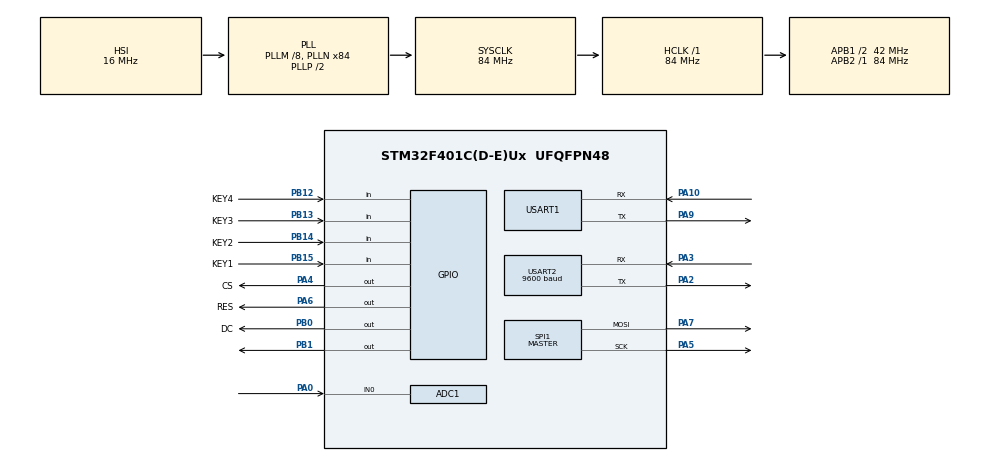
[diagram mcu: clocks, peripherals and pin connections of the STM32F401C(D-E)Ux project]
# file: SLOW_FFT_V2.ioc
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ADC1.Channel-0\#ChannelRegularConversion=ADC_CHANNEL_0
ADC1.ContinuousConvMode=ENABLE
ADC1.DMAContinuousRequests=ENABLE
ADC1.NbrOfConversionFlag=1
ADC1.Rank-0\#ChannelRegularConversion=1
ADC1.SamplingTime-0\#ChannelRegularConversion=ADC_SAMPLETIME_3CYCLES
ADC1.master=1
Dma.ADC1.0.Direction=DMA_PERIPH_TO_MEMORY
Dma.ADC1.0.FIFOMode=DMA_FIFOMODE_DISABLE
Dma.ADC1.0.Instance=DMA2_Stream0
Dma.ADC1.0.MemDataAlignment=DMA_MDATAALIGN_HALFWORD
Dma.ADC1.0.MemInc=DMA_MINC_ENABLE
Dma.ADC1.0.Mode=DMA_CIRCULAR
Dma.ADC1.0.PeriphDataAlignment=DMA_PDATAALIGN_HALFWORD
Dma.ADC1.0.PeriphInc=DMA_PINC_DISABLE
Dma.ADC1.0.Priority=DMA_PRIORITY_LOW
Dma.Request0=ADC1
Dma.Request1=SPI1_TX
Dma.SPI1_TX.1.Direction=DMA_MEMORY_TO_PERIPH
Dma.SPI1_TX.1.FIFOMode=DMA_FIFOMODE_DISABLE
Dma.SPI1_TX.1.Instance=DMA2_Stream3
Dma.SPI1_TX.1.MemDataAlignment=DMA_MDATAALIGN_BYTE
Dma.SPI1_TX.1.MemInc=DMA_MINC_ENABLE
Dma.SPI1_TX.1.Mode=DMA_NORMAL
Dma.SPI1_TX.1.PeriphDataAlignment=DMA_PDATAALIGN_BYTE
Dma.SPI1_TX.1.PeriphInc=DMA_PINC_DISABLE
Dma.SPI1_TX.1.Priority=DMA_PRIORITY_LOW
Mcu.Family=STM32F4
Mcu.Name=STM32F401C(D-E)Ux
Mcu.Package=UFQFPN48
NVIC.DMA2_Stream0_IRQn=true\:0\:0\:false\:false\:true\:false\:true\:true
NVIC.DMA2_Stream3_IRQn=true\:0\:0\:false\:false\:true\:false\:true\:true
NVIC.PriorityGroup=NVIC_PRIORITYGROUP_4
NVIC.TIM5_IRQn=true\:0\:0\:false\:false\:true\:true\:true\:true
PA0-WKUP.Signal=ADCx_IN0
PA10.Mode=Asynchronous
PA10.Signal=USART1_RX
PA13.Mode=Serial_Wire
PA13.Signal=SYS_JTMS-SWDIO
PA14.Mode=Serial_Wire
PA14.Signal=SYS_JTCK-SWCLK
PA2.Mode=Asynchronous
PA2.Signal=USART2_TX
PA3.Mode=Asynchronous
PA3.Signal=USART2_RX
PA4.GPIO_Label=CS
PA4.Signal=GPIO_Output
PA5.Mode=TX_Only_Simplex_Unidirect_Master
PA5.Signal=SPI1_SCK
PA6.GPIO_Label=RES
PA6.Signal=GPIO_Output
PA7.Mode=TX_Only_Simplex_Unidirect_Master
PA7.Signal=SPI1_MOSI
PA9.Mode=Asynchronous
PA9.Signal=USART1_TX
PB0.GPIO_Label=DC
PB0.Signal=GPIO_Output
PB1.GPIO_Speed=GPIO_SPEED_FREQ_VERY_HIGH
PB1.Signal=GPIO_Output
PB12.GPIO_Label=KEY4
PB12.GPIO_PuPd=GPIO_PULLUP
PB12.Signal=GPIO_Input
PB13.GPIO_Label=KEY3
PB13.GPIO_PuPd=GPIO_PULLUP
PB13.Signal=GPIO_Input
PB14.GPIO_Label=KEY2
PB14.GPIO_PuPd=GPIO_PULLUP
PB14.Signal=GPIO_Input
PB15.GPIO_Label=KEY1
PB15.GPIO_PuPd=GPIO_PULLUP
PB15.Signal=GPIO_Input
PH0\ -\ OSC_IN.Mode=HSE-External-Oscillator
PH0\ -\ OSC_IN.Signal=RCC_OSC_IN
PH1\ -\ OSC_OUT.Mode=HSE-External-Oscillator
PH1\ -\ OSC_OUT.Signal=RCC_OSC_OUT
ProjectManager.HeapSize=0x200
ProjectManager.StackSize=0x400
ProjectManager.TargetToolchain=MDK-ARM V5.32
RCC.48MHZClocksFreq_Value=42000000
RCC.AHBFreq_Value=84000000
RCC.APB1CLKDivider=RCC_HCLK_DIV2
RCC.APB1Freq_Value=42000000
RCC.APB1TimFreq_Value=84000000
RCC.APB2Freq_Value=84000000
RCC.APB2TimFreq_Value=84000000
RCC.CortexFreq_Value=84000000
RCC.HCLKFreq_Value=84000000
RCC.HSE_VALUE=25000000
RCC.HSI_VALUE=16000000
RCC.LSE_VALUE=32768
RCC.PLLM=8
RCC.PLLN=84
RCC.SYSCLKFreq_VALUE=84000000
RCC.SYSCLKSource=RCC_SYSCLKSOURCE_PLLCLK
RCC.VCOOutputFreq_Value=168000000
SH.ADCx_IN0.0=ADC1_IN0,IN0
SPI1.BaudRatePrescaler=SPI_BAUDRATEPRESCALER_16
SPI1.Direction=SPI_DIRECTION_2LINES
SPI1.Mode=SPI_MODE_MASTER
SPI1.VirtualType=VM_MASTER
TIM5.Period=159
TIM5.Prescaler=83
USART1.VirtualMode=VM_ASYNC
USART2.BaudRate=9600
USART2.VirtualMode=VM_ASYNC
VP_TIM5_VS_ClockSourceINT.Mode=Internal
board=custom

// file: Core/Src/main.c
/* USER CODE BEGIN Header */
/**
 ******************************************************************************
 * @file           : main.c
 * @brief          : Main program body
 ******************************************************************************
 * @attention
 *
 * Copyright (c) 2023 STMicroelectronics.
 * All rights reserved.
 *
 * This software is licensed under terms that can be found in the LICENSE file
 * in the root directory of this software component.
 * If no LICENSE file comes with this software, it is provided AS-IS.
 *
 ******************************************************************************
 */
/* USER CODE END Header */
#include "main.h"
#include "adc.h"
#include "dma.h"
#include "spi.h"
#include "tim.h"
#include "usart.h"
#include "gpio.h"

/* USER CODE BEGIN Includes */
#include "oled.h"
#include "stdint.h"
#include "string.h"
#include "stdio.h"
#include "loop_queue.h"
#include "trigger.h"

/* USER CODE END Includes */

/* USER CODE BEGIN PV */
uint16_t adcBuffer[AVG_NUMBER];
char uartBuffer[100];
uint16_t avgNoise = 0;
uint16_t fftStartIdx = 0;
float32_t fftOutput[FFT_OUTPUT_DATA_SIZE];
float32_t triggerValue = 0;
// float32_t hanningWindow[FFT_INPUT_DATA_LEN];

static uint8_t keyState = 0;
static float32_t adcAvgValue = 0;

extern const arm_cfft_instance_f32 arm_cfft_sR_f32_len512;
extern volatile float32_t pickDataBuf[];
extern uint16_t triggerFreqIdx;
extern uint16_t triggerLinePos;

/* USER CODE END PV */

void SystemClock_Config(void);

/* USER CODE BEGIN 0 */

void generateHanningWindow(float32_t *window, uint32_t length)
{
    for (uint32_t i = 0; i < length; i++)
    {
        window[i] = 0.5f * (1.0f - arm_cos_f32(2.0f * PI * i / (length - 1)));
    }
}

void window_filter(void)
{
    uint16_t i = 0;
    for (i = 0; i < FFT_INPUT_DATA_LEN; i++)
    {
        // pickDataBuf[i] = pickDataBuf[i] * hanningWindow[i];
    }
}

// fft
void do_fft(void)
{
    // float32_t maxValue = 0;
    // uint32_t testIndex = 0;
    // static uint32_t fftSize = 512;
    // 加窗
    // window_filter();

    memset(fftOutput, 0, FFT_OUTPUT_DATA_SIZE * sizeof(float32_t));

    arm_cfft_f32(&arm_cfft_sR_f32_len512, (float32_t*)pickDataBuf, 0, 1);
    arm_cmplx_mag_f32((const float32_t*)pickDataBuf, fftOutput, 512);

    fftOutput[0] = 0;
    fftOutput[1] = 0;

    // float32_t selectedValue = fftOutput[triggerFreqIdx];
    uint8_t ifTriggered = trigger_control(triggerLinePos);

    // OLED_FULL_DISP();
    SPI_OLED_FULL_DISP(ifTriggered);
}

// check key press status
void key_check(void)
{
    static uint16_t keyCounter = 0;

    // 调节tim3占空�????
    // TIM3_PWM_SetDutyCycle();

    if (keyCounter)
    {
        keyCounter--;
    }

    if (keyCounter)
    {
        return;
    }

    if (HAL_GPIO_ReadPin(KEY1_GPIO_Port, KEY1_Pin) == GPIO_PIN_RESET)
    {
        keyState = KEY_UP;
        keyCounter = KEY_DELAY;
    }
    else if (HAL_GPIO_ReadPin(KEY2_GPIO_Port, KEY2_Pin) == GPIO_PIN_RESET)
    {
        keyState = KEY_DOWN;
        keyCounter = KEY_DELAY;
    }
    else if (HAL_GPIO_ReadPin(KEY3_GPIO_Port, KEY3_Pin) == GPIO_PIN_RESET)
    {
        keyState = KEY_LEFT;
        keyCounter = KEY_DELAY;
    }
    else if (HAL_GPIO_ReadPin(KEY4_GPIO_Port, KEY4_Pin) == GPIO_PIN_RESET)
    {
        keyState = KEY_RIGHT;
        keyCounter = KEY_DELAY;
    }

    if (keyState)
    {
        sprintf(uartBuffer, "key:%d\r\n", keyState);
        HAL_UART_Transmit(&huart1, (uint8_t *)uartBuffer, strlen(uartBuffer), 0xFFFF);
        switch (keyState)
        {
        case KEY_UP:
            change_trigger_value(1);
            break;
        case KEY_DOWN:
            change_trigger_value(0);
            break;
        case KEY_LEFT:
            change_trigger_frequecy(1);
            break;
        case KEY_RIGHT:
            change_trigger_frequecy(0);
            break;
        }
        keyState = 0;
    }
}

static uint16_t get_avg_noise(uint16_t counterNumber)
{
    uint16_t i = 0;
    uint32_t sum = 0;
    for (i = 0; i < counterNumber; i++)
    {
        sum += (uint16_t)adcBuffer[i];
    }

    return (uint16_t)(sum / counterNumber);
}

static float32_t filter_white_noise(uint16_t *adcValue)
{

    int16_t temp = ((int16_t)get_avg_noise(ADC_BUFFER_SIZE) - (int16_t)avgNoise);
    // return temp;

    if (temp > WHITE_NOISE_THRESHOLD)
    {
        return (float32_t)(temp - WHITE_NOISE_THRESHOLD);
    }
    else if (temp < -WHITE_NOISE_THRESHOLD)
    {
        return (float32_t)(temp + WHITE_NOISE_THRESHOLD);
    }

    return 0;
}

/* USER CODE END 0 */

int main(void)
{
    /* USER CODE BEGIN 1 */

    // generateHanningWindow(hanningWindow, FFT_INPUT_DATA_LEN);
    /* USER CODE END 1 */

    /* MCU Configuration--------------------------------------------------------*/

    /* Reset of all peripherals, Initializes the Flash interface and the Systick. */
    HAL_Init();

    /* Configure the system clock */
    SystemClock_Config();

    /* Initialize all configured peripherals */
    MX_GPIO_Init();
    MX_DMA_Init();
    MX_USART1_UART_Init();
    MX_ADC1_Init();
    MX_TIM5_Init();
    MX_SPI1_Init();
    MX_USART2_UART_Init();
    /* USER CODE BEGIN 2 */

    // collect avg noise
    HAL_ADC_Start_DMA(&hadc1, (uint32_t *)adcBuffer, AVG_NUMBER);
    HAL_Delay(1000);
    avgNoise = get_avg_noise(AVG_NUMBER);
    sprintf(uartBuffer, "avg noise:%d\r\n", avgNoise);
    HAL_UART_Transmit(&huart1, (uint8_t *)uartBuffer, strlen(uartBuffer), 100);

    HAL_ADC_Stop_DMA(&hadc1);

    HAL_ADC_Start_DMA(&hadc1, (uint32_t *)adcBuffer, ADC_BUFFER_SIZE);

    // 打开tim5
    HAL_TIM_Base_Start_IT(&htim5);

    SPI_OLED_Init();
    // full_screen_oled_test();
    /* USER CODE END 2 */

    /* Infinite loop */
    /* USER CODE BEGIN WHILE */
    while (1)
    {
        // HAL_GPIO_WritePin(GPIOB, GPIO_PIN_1, GPIO_PIN_SET);
        // full_screen_oled_test();
        if (fftStartIdx)
        {
            // full_screen_oled_test();
            // HAL_GPIO_TogglePin(GPIOB, GPIO_PIN_1);
            // HAL_GPIO_WritePin(GPIOB, GPIO_PIN_1, GPIO_PIN_SET);
            do_fft();
            rainbow_color_change();
            // HAL_GPIO_WritePin(GPIOB, GPIO_PIN_1, GPIO_PIN_RESET);
            fftStartIdx = 0;
        }
        /* USER CODE END WHILE */

    }
}

void SystemClock_Config(void)
{
    RCC_OscInitTypeDef RCC_OscInitStruct = {0};
    RCC_ClkInitTypeDef RCC_ClkInitStruct = {0};

    /** Configure the main internal regulator output voltage
     */
    __HAL_RCC_PWR_CLK_ENABLE();
    __HAL_PWR_VOLTAGESCALING_CONFIG(PWR_REGULATOR_VOLTAGE_SCALE2);

    /** Initializes the RCC Oscillators according to the specified parameters
     * in the RCC_OscInitTypeDef structure.
     */
    RCC_OscInitStruct.OscillatorType = RCC_OSCILLATORTYPE_HSI;
    RCC_OscInitStruct.HSIState = RCC_HSI_ON;
    RCC_OscInitStruct.HSICalibrationValue = RCC_HSICALIBRATION_DEFAULT;
    RCC_OscInitStruct.PLL.PLLState = RCC_PLL_ON;
    RCC_OscInitStruct.PLL.PLLSource = RCC_PLLSOURCE_HSI;
    RCC_OscInitStruct.PLL.PLLM = 8;
    RCC_OscInitStruct.PLL.PLLN = 84;
    RCC_OscInitStruct.PLL.PLLP = RCC_PLLP_DIV2;
    RCC_OscInitStruct.PLL.PLLQ = 4;
    if (HAL_RCC_OscConfig(&RCC_OscInitStruct) != HAL_OK)
    {
        Error_Handler();
    }

    /** Initializes the CPU, AHB and APB buses clocks
     */
    RCC_ClkInitStruct.ClockType = RCC_CLOCKTYPE_HCLK | RCC_CLOCKTYPE_SYSCLK | RCC_CLOCKTYPE_PCLK1 | RCC_CLOCKTYPE_PCLK2;
    RCC_ClkInitStruct.SYSCLKSource = RCC_SYSCLKSOURCE_PLLCLK;
    RCC_ClkInitStruct.AHBCLKDivider = RCC_SYSCLK_DIV1;
    RCC_ClkInitStruct.APB1CLKDivider = RCC_HCLK_DIV2;
    RCC_ClkInitStruct.APB2CLKDivider = RCC_HCLK_DIV1;

    if (HAL_RCC_ClockConfig(&RCC_ClkInitStruct, FLASH_LATENCY_2) != HAL_OK)
    {
        Error_Handler();
    }
}

/* USER CODE BEGIN 4 */

void HAL_TIM_PeriodElapsedCallback(TIM_HandleTypeDef *htim)
{

    static uint8_t fillFlag = 0;
    uint16_t writeIdx = 0;
    if (htim->Instance == TIM5)
    {

        writeIdx = save_data(adcAvgValue);

        if (writeIdx % EACH_10_MS_LEN == 0)
        {
            pick_data();
            key_check();
            fftStartIdx = 1;
        }
    }
}

void HAL_SPI_TxCpltCallback(SPI_HandleTypeDef *hspi)
{
    if (hspi->Instance == SPI1)
    {
        HAL_GPIO_WritePin(GPIOB, GPIO_PIN_1, GPIO_PIN_RESET);
    }
}

void HAL_ADC_ConvCpltCallback(ADC_HandleTypeDef *hadc)
{

    adcAvgValue = filter_white_noise(adcBuffer);
}

/* USER CODE END 4 */

void Error_Handler(void)
{
    __disable_irq();
    while (1)
    {
    }
}
